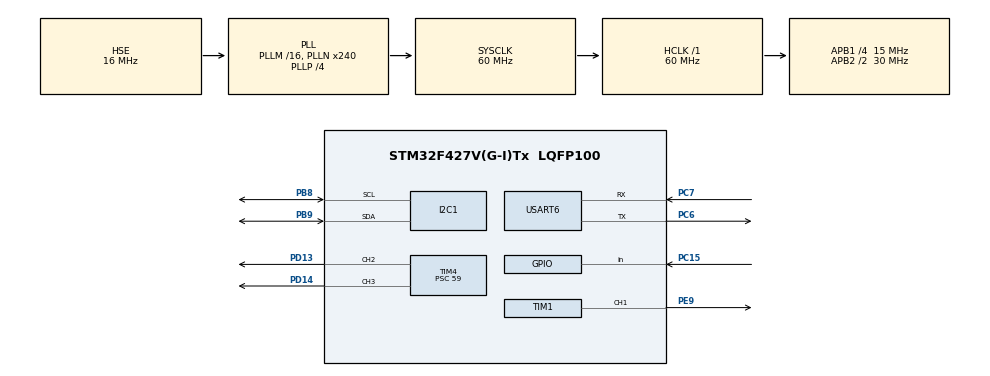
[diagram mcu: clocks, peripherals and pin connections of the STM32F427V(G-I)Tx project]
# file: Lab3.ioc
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I2C1.I2C_Mode=I2C_Fast
Mcu.Family=STM32F4
Mcu.Name=STM32F427V(G-I)Tx
Mcu.Package=LQFP100
NVIC.PriorityGroup=NVIC_PRIORITYGROUP_4
NVIC.TIM6_DAC_IRQn=true\:0\:0\:false\:false\:true\:true\:true\:true
NVIC.USART6_IRQn=true\:0\:0\:false\:false\:true\:true\:true\:true
PA13.Mode=Serial_Wire
PA13.Signal=SYS_JTMS-SWDIO
PA14.Mode=Serial_Wire
PA14.Signal=SYS_JTCK-SWCLK
PB8.GPIO_Pu=GPIO_PULLUP
PB8.Mode=I2C
PB8.Signal=I2C1_SCL
PB9.GPIO_Pu=GPIO_PULLUP
PB9.Mode=I2C
PB9.Signal=I2C1_SDA
PC15/OSC32_OUT.Signal=GPIO_Input
PC6.Mode=Asynchronous
PC6.Signal=USART6_TX
PC7.Mode=Asynchronous
PC7.Signal=USART6_RX
PD13.Signal=S_TIM4_CH2
PD14.Signal=S_TIM4_CH3
PD15.Signal=S_TIM4_CH4
PE9.Signal=S_TIM1_CH1
PH0/OSC_IN.Mode=HSE-External-Oscillator
PH0/OSC_IN.Signal=RCC_OSC_IN
PH1/OSC_OUT.Mode=HSE-External-Oscillator
PH1/OSC_OUT.Signal=RCC_OSC_OUT
ProjectManager.HeapSize=0x200
ProjectManager.StackSize=0x400
ProjectManager.TargetToolchain=STM32CubeIDE
RCC.48MHZClocksFreq_Value=60000000
RCC.AHBFreq_Value=60000000
RCC.APB1CLKDivider=RCC_HCLK_DIV4
RCC.APB1Freq_Value=15000000
RCC.APB1TimFreq_Value=30000000
RCC.APB2CLKDivider=RCC_HCLK_DIV2
RCC.APB2Freq_Value=30000000
RCC.APB2TimFreq_Value=60000000
RCC.CortexFreq_Value=60000000
RCC.HCLKFreq_Value=60000000
RCC.HSE_VALUE=16000000
RCC.HSI_VALUE=16000000
RCC.LSE_VALUE=32768
RCC.PLLN=240
RCC.PLLP=RCC_PLLP_DIV4
RCC.PLLSourceVirtual=RCC_PLLSOURCE_HSE
RCC.SYSCLKFreq_VALUE=60000000
RCC.SYSCLKSource=RCC_SYSCLKSOURCE_PLLCLK
RCC.VCOOutputFreq_Value=240000000
SH.S_TIM1_CH1.0=TIM1_CH1,PWM Generation1 CH1
SH.S_TIM4_CH2.0=TIM4_CH2,PWM Generation2 CH2
SH.S_TIM4_CH3.0=TIM4_CH3,PWM Generation3 CH3
SH.S_TIM4_CH4.0=TIM4_CH4
TIM1.AutoReloadPreload=TIM_AUTORELOAD_PRELOAD_ENABLE
TIM1.Channel-PWM\ Generation1\ CH1=TIM_CHANNEL_1
TIM1.Period=1000
TIM1.Prescaler=89
TIM1.Pulse-PWM\ Generation1\ CH1=0
TIM4.AutoReloadPreload=TIM_AUTORELOAD_PRELOAD_ENABLE
TIM4.Channel-PWM\ Generation2\ CH2=TIM_CHANNEL_2
TIM4.Channel-PWM\ Generation3\ CH3=TIM_CHANNEL_3
TIM4.Channel-PWM\ Generation4\ No\ Output=TIM_CHANNEL_4
TIM4.Period=1999
TIM4.Prescaler=59
TIM6.AutoReloadPreload=TIM_AUTORELOAD_PRELOAD_ENABLE
TIM6.Period=999
TIM6.Prescaler=59999
USART6.VirtualMode=VM_ASYNC
VP_TIM1_VS_ClockSourceINT.Mode=Internal
VP_TIM4_VS_ClockSourceINT.Mode=Internal
VP_TIM4_VS_no_output4.Mode=PWM Generation4 No Output
VP_TIM6_VS_ClockSourceINT.Mode=Enable_Timer
board=custom

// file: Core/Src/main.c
/* USER CODE BEGIN Header */
/**
  ******************************************************************************
  * @file           : main.c
  * @brief          : Main program body
  ******************************************************************************
  * @attention
  *
  * Copyright (c) 2025 STMicroelectronics.
  * All rights reserved.
  *
  * This software is licensed under terms that can be found in the LICENSE file
  * in the root directory of this software component.
  * If no LICENSE file comes with this software, it is provided AS-IS.
  *
  ******************************************************************************
  */
/* USER CODE END Header */
#include "main.h"
#include "i2c.h"
#include "tim.h"
#include "usart.h"
#include "gpio.h"

/* USER CODE BEGIN Includes */
#include <string.h>
#include <stdio.h>
/* USER CODE END Includes */

/* USER CODE BEGIN PD */
#define NUM_PULSES 9
#define SEQUENCE_LENGTH 27

// Ча�?тоты звуков (Гц) - легко различимые
const uint16_t FREQUENCIES[NUM_PULSES] = {
    262, 294, 330, 349, 392, 440, 494, 523, 587  // До, Ре, Ми, Фа, Соль, Л�?, Си, До2, Ре2
};

typedef struct {
    uint8_t green;
    uint8_t yellow;
    uint8_t red;
    uint16_t freq;
    char symbol;
} Pulse_t;

const Pulse_t PULSES[NUM_PULSES] = {
    {20,  0,   0,  262, '1'},  // Зеленый 20%
    {50,  0,   0,  294, '2'},  // Зеленый 50%
    {100, 0,   0,  330, '3'},  // Зеленый 100%
    {0,   20,  0,  349, '4'},  // Желтый 20%
    {0,   50,  0,  392, '5'},  // Желтый 50%
    {0,   100, 0,  440, '6'},  // Желтый 100%
    {0,   0,   20, 494, '7'},  // Кра�?ный 20%
    {0,   0,   50, 523, '8'},  // Кра�?ный 50%
    {0,   0,   100, 587, '9'}  // Кра�?ный 100%
};

typedef enum {
    SPEED_SLOW = 0,
    SPEED_MEDIUM = 1,
    SPEED_FAST = 2
} Speed_t;

const uint16_t SPEED_DURATIONS[3] = {1000, 600, 300};

typedef enum {
    MODE_BOTH = 0,
    MODE_LED_ONLY = 1,
    MODE_SOUND_ONLY = 2
} PlayMode_t;

typedef enum {
    GAME_IDLE = 0,
    GAME_COUNTDOWN = 1,
    GAME_PLAYING = 2,
    GAME_FINISHED = 3
} GameState_t;

/* USER CODE END PD */

/* USER CODE BEGIN PV */
extern TIM_HandleTypeDef htim1;
extern TIM_HandleTypeDef htim4;
extern TIM_HandleTypeDef htim6;
extern UART_HandleTypeDef huart6;

static Speed_t current_speed = SPEED_SLOW;
static PlayMode_t play_mode = MODE_BOTH;
static GameState_t game_state = GAME_IDLE;

static uint8_t sequence[SEQUENCE_LENGTH];
static uint8_t sequence_pos = 0;
static uint32_t score = 0;
static uint8_t mistakes = 0;
static uint8_t input_received = 0;
static char trace[SEQUENCE_LENGTH];

static uint32_t countdown_start = 0;
static uint32_t pulse_start = 0;

uint8_t uart_rx_buffer[128];
volatile uint16_t uart_rx_head = 0;
volatile uint16_t uart_rx_tail = 0;
uint8_t uart_rx_byte;

volatile uint32_t uart_tx_head = 0;
volatile uint32_t uart_tx_tail = 0;
uint8_t uart_tx_buffer[256];
volatile uint8_t uart_tx_busy = 0;
/* USER CODE END PV */

void SystemClock_Config(void);
/* USER CODE BEGIN PFP */
static void SetPWM(uint8_t green, uint8_t yellow, uint8_t red);
static void SetBuzzer(uint16_t freq);
static void StopBuzzer(void);
static void PlayPulse(uint8_t pulse_idx);
static void StopPulse(void);
static void GenerateSequence(void);
static void StartGame(void);
static void StopGame(void);
static void ProcessInput(char c);
static void PrintGameStats(void);
static void UART_SendString(const char* str);
/* USER CODE END PFP */

/* USER CODE BEGIN 0 */

static void SetPWM(uint8_t green, uint8_t yellow, uint8_t red) {
    if (play_mode == MODE_SOUND_ONLY) {
        __HAL_TIM_SET_COMPARE(&htim4, TIM_CHANNEL_2, 0);
        __HAL_TIM_SET_COMPARE(&htim4, TIM_CHANNEL_3, 0);
        __HAL_TIM_SET_COMPARE(&htim4, TIM_CHANNEL_4, 0);
        return;
    }

    __HAL_TIM_SET_COMPARE(&htim4, TIM_CHANNEL_2, (green * 2000) / 100);
    __HAL_TIM_SET_COMPARE(&htim4, TIM_CHANNEL_3, (yellow * 2000) / 100);
    __HAL_TIM_SET_COMPARE(&htim4, TIM_CHANNEL_4, (red * 2000) / 100);
}

static void SetBuzzer(uint16_t freq) {
    if (play_mode == MODE_LED_ONLY || freq == 0) {
        HAL_TIM_PWM_Stop(&htim1, TIM_CHANNEL_1);
        return;
    }

    uint32_t timer_clock = 144000000;
    uint16_t prescaler = (timer_clock / 1000000) - 1;
    uint32_t arr = (1000000 / freq) - 1;

    if (arr > 65535) arr = 65535;
    if (arr < 10) arr = 10;

    char debug_buf[64];
    snprintf(debug_buf, sizeof(debug_buf), "[PSC=%u, ARR=%lu, CCR=%lu] ", prescaler, arr, arr/2);
    UART_SendString(debug_buf);

    HAL_TIM_PWM_Stop(&htim1, TIM_CHANNEL_1);

    htim1.Instance->PSC = prescaler;
    htim1.Instance->ARR = arr;
    htim1.Instance->CCR1 = arr / 2;
    htim1.Instance->CNT = 0;

    htim1.Instance->EGR = TIM_EGR_UG;

    HAL_TIM_PWM_Start(&htim1, TIM_CHANNEL_1);
}

static void StopBuzzer(void) {
    HAL_TIM_PWM_Stop(&htim1, TIM_CHANNEL_1);
}

static void PlayPulse(uint8_t pulse_idx) {
    const Pulse_t* p = &PULSES[pulse_idx];
    SetPWM(p->green, p->yellow, p->red);
    SetBuzzer(p->freq);
}

static void StopPulse(void) {
    SetPWM(0, 0, 0);
    StopBuzzer();
}

static void GenerateSequence(void) {
    for (int i = 0; i < SEQUENCE_LENGTH; i++) {
        sequence[i] = i % NUM_PULSES;
    }
}

static void StartGame(void) {
    game_state = GAME_COUNTDOWN;
    countdown_start = HAL_GetTick();
    score = 0;
    mistakes = 0;
    sequence_pos = 0;
    memset(trace, 0, sizeof(trace));
    GenerateSequence();

    UART_SendString("\r\n=== GAME STARTING IN 3 SECONDS ===\r\n");
}

static void StopGame(void) {
    StopPulse();
    HAL_TIM_Base_Stop_IT(&htim6);
    game_state = GAME_FINISHED;
    PrintGameStats();
}

static void PrintGameStats(void) {
    char buf[256];
    snprintf(buf, sizeof(buf),
             "\r\n=== GAME FINISHED ===\r\n"
             "Score: %lu\r\n"
             "Correct: %d / %d\r\n"
             "Trace: ",
             score, SEQUENCE_LENGTH - mistakes, SEQUENCE_LENGTH);
    UART_SendString(buf);

    for (int i = 0; i < SEQUENCE_LENGTH; i++) {
        if (trace[i] == '+') {
            UART_SendString("[OK]");
        } else if (trace[i] == '-') {
            UART_SendString("[MISS]");
        } else {
            UART_SendString("[TIMEOUT]");
        }
    }
    UART_SendString("\r\n");
    game_state = GAME_IDLE;
}

static void ProcessInput(char c) {
    if (game_state == GAME_IDLE) {
        for (int i = 0; i < NUM_PULSES; i++) {
            if (c == PULSES[i].symbol) {
                PlayPulse(i);

                char buf[128];
                snprintf(buf, sizeof(buf),
                         "\r\nPulse '%c': Color=%s, Brightness=%d%%, Frequency=%d Hz\r\n",
                         c,
                         PULSES[i].green ? "Green" : (PULSES[i].yellow ? "Yellow" : "Red"),
                         PULSES[i].green + PULSES[i].yellow + PULSES[i].red,
                         PULSES[i].freq);
                UART_SendString(buf);
                return;
            }
        }

        if (c == '+') {
            current_speed = (current_speed + 1) % 3;
            const char* speed_names[] = {"SLOW", "MEDIUM", "FAST"};
            char buf[64];
            snprintf(buf, sizeof(buf), "\r\nSpeed: %s (%d ms)\r\n",
                     speed_names[current_speed],
                     SPEED_DURATIONS[current_speed]);
            UART_SendString(buf);
        } else if (c == 'a' || c == 'A') {
            play_mode = (play_mode + 1) % 3;
            const char* mode_names[] = {"LED + SOUND", "LED ONLY", "SOUND ONLY"};
            char buf[64];
            snprintf(buf, sizeof(buf), "\r\nPlay mode: %s\r\n", mode_names[play_mode]);
            UART_SendString(buf);
        } else if (c == '\r' || c == '\n') {
            StartGame();
        }
    } else if (game_state == GAME_PLAYING) {
        if (input_received) return;

        uint8_t expected = sequence[sequence_pos];
        if (c == PULSES[expected].symbol) {
            trace[sequence_pos] = '+';
            score += 10 * (current_speed + 1);
        } else {
            trace[sequence_pos] = '-';
            mistakes++;
        }
        input_received = 1;
    } else if (c == '\r' || c == '\n') {
        if (game_state == GAME_COUNTDOWN || game_state == GAME_PLAYING) {
            UART_SendString("\r\n=== GAME STOPPED ===\r\n");
            StopGame();
        }
    }
}

static void UART_SendString(const char* str) {
    HAL_UART_Transmit(&huart6, (uint8_t*)str, strlen(str), HAL_MAX_DELAY);
}

/* USER CODE END 0 */

int main(void)
{

  /* MCU Configuration--------------------------------------------------------*/

  /* Reset of all peripherals, Initializes the Flash interface and the Systick. */
  HAL_Init();

  /* Configure the system clock */
  SystemClock_Config();

  /* Initialize all configured peripherals */
  MX_GPIO_Init();
  MX_TIM1_Init();
  MX_TIM6_Init();
  MX_USART6_UART_Init();
  MX_I2C1_Init();
  MX_TIM4_Init();
  /* USER CODE BEGIN 2 */

  UART_SendString("\r\n\r\n=== RHYTHM GAME ===\r\n");
  UART_SendString("System initialized successfully!\r\n");

  char freq_buf[128];
  snprintf(freq_buf, sizeof(freq_buf), "SYSCLK: %lu Hz\r\n", HAL_RCC_GetSysClockFreq());
  UART_SendString(freq_buf);
  snprintf(freq_buf, sizeof(freq_buf), "HCLK: %lu Hz\r\n", HAL_RCC_GetHCLKFreq());
  UART_SendString(freq_buf);
  snprintf(freq_buf, sizeof(freq_buf), "PCLK1: %lu Hz\r\n", HAL_RCC_GetPCLK1Freq());
  UART_SendString(freq_buf);
  snprintf(freq_buf, sizeof(freq_buf), "PCLK2: %lu Hz\r\n\r\n", HAL_RCC_GetPCLK2Freq());
  UART_SendString(freq_buf);

  UART_SendString("=== TESTING BUZZER ===\r\n");

  uint32_t test_arr = (144000000 / 440) - 1;
  __HAL_TIM_SET_AUTORELOAD(&htim1, test_arr);
  __HAL_TIM_SET_COMPARE(&htim1, TIM_CHANNEL_1, test_arr / 2);
  HAL_TIM_PWM_Start(&htim1, TIM_CHANNEL_1);
  HAL_Delay(500);
  HAL_TIM_PWM_Stop(&htim1, TIM_CHANNEL_1);

  HAL_Delay(200);

  test_arr = (144000000 / 523) - 1;
  __HAL_TIM_SET_AUTORELOAD(&htim1, test_arr);
  __HAL_TIM_SET_COMPARE(&htim1, TIM_CHANNEL_1, test_arr / 2);
  HAL_TIM_PWM_Start(&htim1, TIM_CHANNEL_1);
  HAL_Delay(500);
  HAL_TIM_PWM_Stop(&htim1, TIM_CHANNEL_1);

  UART_SendString("Buzzer test complete!\r\n\r\n");

  HAL_TIM_PWM_Start(&htim4, TIM_CHANNEL_2);
  HAL_TIM_PWM_Start(&htim4, TIM_CHANNEL_3);
  HAL_TIM_PWM_Start(&htim4, TIM_CHANNEL_4);

  SetPWM(0, 0, 0);

  HAL_UART_Receive_IT(&huart6, &uart_rx_byte, 1);

  UART_SendString("Commands:\r\n");
  UART_SendString("  1-9 : Test pulses (color + sound)\r\n");
  UART_SendString("  +   : Change speed (SLOW/MEDIUM/FAST)\r\n");
  UART_SendString("  a   : Change mode (LED+SOUND/LED ONLY/SOUND ONLY)\r\n");
  UART_SendString("  Enter: Start/Stop game\r\n");
  UART_SendString("\r\nReady! Press 1-9 to test...\r\n");

  /* USER CODE END 2 */

  /* Infinite loop */
  /* USER CODE BEGIN WHILE */
  while (1)
  {
    uint32_t now = HAL_GetTick();

    if (game_state == GAME_COUNTDOWN) {
        if (now - countdown_start >= 3000) {
            game_state = GAME_PLAYING;
            sequence_pos = 0;
            pulse_start = now;
            input_received = 0;
            PlayPulse(sequence[0]);

            __HAL_TIM_SET_COUNTER(&htim6, 0);
            __HAL_TIM_SET_AUTORELOAD(&htim6, SPEED_DURATIONS[current_speed] - 1);
            HAL_TIM_Base_Start_IT(&htim6);

            UART_SendString("=== GO! ===\r\n");
        }
    }

    // Чтение UART
    if (uart_rx_head != uart_rx_tail) {
        char c = uart_rx_buffer[uart_rx_tail];
        uart_rx_tail = (uart_rx_tail + 1) % 128;
        ProcessInput(c);
    }
    /* USER CODE END WHILE */

  }
}

void SystemClock_Config(void)
{
  RCC_OscInitTypeDef RCC_OscInitStruct = {0};
  RCC_ClkInitTypeDef RCC_ClkInitStruct = {0};

  /** Configure the main internal regulator output voltage
  */
  __HAL_RCC_PWR_CLK_ENABLE();
  __HAL_PWR_VOLTAGESCALING_CONFIG(PWR_REGULATOR_VOLTAGE_SCALE3);

  /** Initializes the RCC Oscillators according to the specified parameters
  * in the RCC_OscInitTypeDef structure.
  */
  RCC_OscInitStruct.OscillatorType = RCC_OSCILLATORTYPE_HSE;
  RCC_OscInitStruct.HSEState = RCC_HSE_ON;
  RCC_OscInitStruct.PLL.PLLState = RCC_PLL_ON;
  RCC_OscInitStruct.PLL.PLLSource = RCC_PLLSOURCE_HSE;
  RCC_OscInitStruct.PLL.PLLM = 16;
  RCC_OscInitStruct.PLL.PLLN = 240;
  RCC_OscInitStruct.PLL.PLLP = RCC_PLLP_DIV4;
  RCC_OscInitStruct.PLL.PLLQ = 4;
  if (HAL_RCC_OscConfig(&RCC_OscInitStruct) != HAL_OK)
  {
    Error_Handler();
  }

  /** Initializes the CPU, AHB and APB buses clocks
  */
  RCC_ClkInitStruct.ClockType = RCC_CLOCKTYPE_HCLK|RCC_CLOCKTYPE_SYSCLK
                              |RCC_CLOCKTYPE_PCLK1|RCC_CLOCKTYPE_PCLK2;
  RCC_ClkInitStruct.SYSCLKSource = RCC_SYSCLKSOURCE_PLLCLK;
  RCC_ClkInitStruct.AHBCLKDivider = RCC_SYSCLK_DIV1;
  RCC_ClkInitStruct.APB1CLKDivider = RCC_HCLK_DIV4;
  RCC_ClkInitStruct.APB2CLKDivider = RCC_HCLK_DIV2;

  if (HAL_RCC_ClockConfig(&RCC_ClkInitStruct, FLASH_LATENCY_1) != HAL_OK)
  {
    Error_Handler();
  }
}

/* USER CODE BEGIN 4 */

void HAL_TIM_PeriodElapsedCallback(TIM_HandleTypeDef *htim) {
    if (htim->Instance == TIM6 && game_state == GAME_PLAYING) {
        StopPulse();

        if (!input_received) {
            trace[sequence_pos] = '0';
            mistakes++;
        }

        sequence_pos++;

        if (sequence_pos >= SEQUENCE_LENGTH) {
            StopGame();
        } else {
            input_received = 0;
            PlayPulse(sequence[sequence_pos]);
        }
    }
}

// UART RX callback
void HAL_UART_RxCpltCallback(UART_HandleTypeDef *huart) {
    if (huart->Instance == USART6) {
        uint16_t next = (uart_rx_head + 1) % 128;
        if (next != uart_rx_tail) {
            uart_rx_buffer[uart_rx_head] = uart_rx_byte;
            uart_rx_head = next;
        }
        HAL_UART_Receive_IT(&huart6, &uart_rx_byte, 1);
    }
}

/* USER CODE END 4 */

void Error_Handler(void)
{
  __disable_irq();
  while (1)
  {
  }
}
